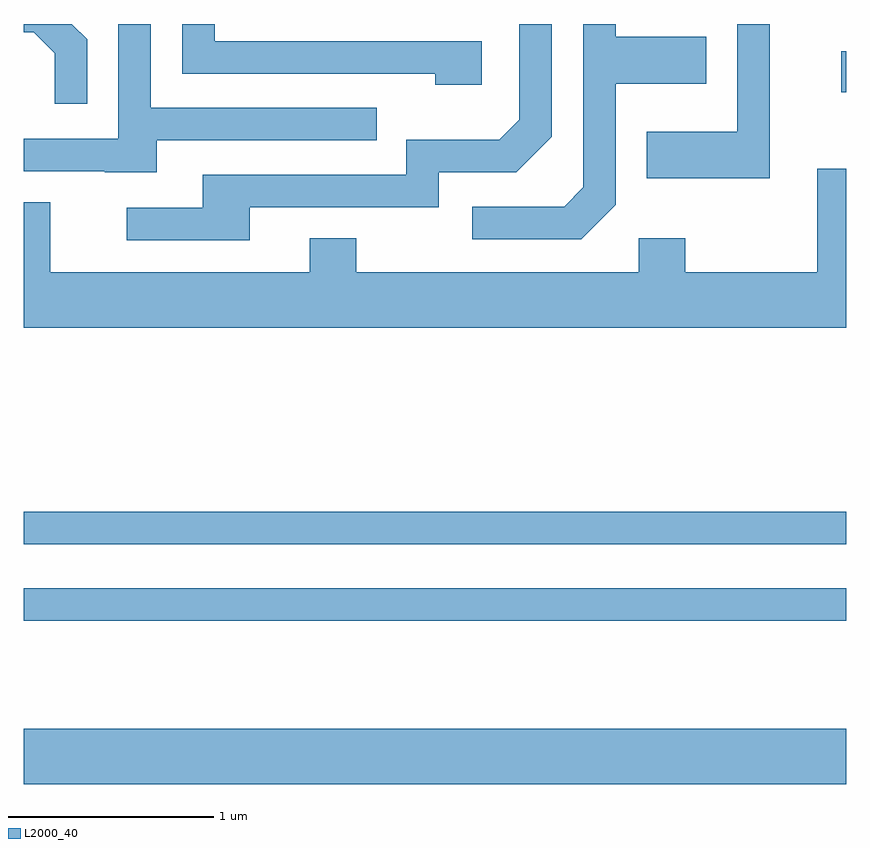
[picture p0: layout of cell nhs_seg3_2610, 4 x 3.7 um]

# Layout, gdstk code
import gdstk
lib = gdstk.Library(unit=1e-6, precision=1e-09)
def R(c, l, rs):  # rectangles x0, y0, x1, y1
    for r in rs: c.add(gdstk.rectangle(r[:2], r[2:], *l))
def P(c, l, *ps):  # polygons
    for p in ps: c.add(gdstk.Polygon(p, *l))
L2000_40 = (2000, 40)

nhs_seg3_2610 = lib.new_cell('nhs_seg3_2610')
R(nhs_seg3_2610, L2000_40, [(261.611,1168.196,265.611,1168.464), (261.611,1168.991,265.611,1169.149), (261.611,1169.361,265.611,1169.519), (265.586,1171.561,265.611,1171.759)])
P(nhs_seg3_2610, L2000_40, [(263.839,1171.809),(262.539,1171.809),(262.539,1171.892),(262.381,1171.892),(262.381,1171.651),(263.611,1171.651),(263.611,1171.596),(263.839,1171.596)],
  [(265.239,1171.892),(265.081,1171.892),(265.081,1171.369),(264.641,1171.369),(264.641,1171.141),(265.239,1171.141)],
  [(262.259,1171.326),(263.328,1171.326),(263.328,1171.484),(262.229,1171.484),(262.229,1171.892),(262.071,1171.892),(262.071,1171.334),(261.611,1171.334),(261.611,1171.176),(262.005,1171.176),(262.005,1171.171),(262.259,1171.171)],
  [(261.919,1171.817),(261.844,1171.892),(261.611,1171.892),(261.611,1171.851),(261.659,1171.851),(261.761,1171.749),(261.761,1171.503),(261.919,1171.503)],
  [(264.489,1171.014),(264.489,1171.601),(264.929,1171.601),(264.929,1171.829),(264.489,1171.829),(264.489,1171.892),(264.331,1171.892),(264.331,1171.097),(264.239,1171.004),(263.793,1171.004),(263.793,1170.846),(264.322,1170.846)],
  [(262.709,1171.001),(263.629,1171.001),(263.629,1171.171),(264.007,1171.171),(264.179,1171.344),(264.179,1171.892),(264.021,1171.892),(264.021,1171.427),(263.924,1171.329),(263.471,1171.329),(263.471,1171.159),(262.481,1171.159),(262.481,1170.999),(262.113,1170.999),(262.113,1170.841),(262.709,1170.841)],
  [(261.611,1171.024),(261.611,1170.416),(265.611,1170.416),(265.611,1171.189),(265.471,1171.189),(265.471,1170.684),(264.829,1170.684),(264.829,1170.849),(264.601,1170.849),(264.601,1170.684),(263.229,1170.684),(263.229,1170.849),(263.001,1170.849),(263.001,1170.684),(261.739,1170.684),(261.739,1171.024)])

lib.write_gds('nhs_seg3_2610.gds')
